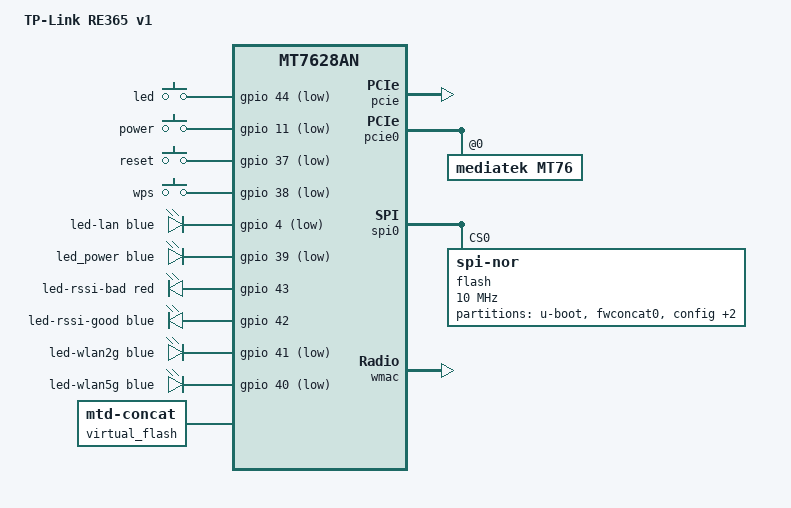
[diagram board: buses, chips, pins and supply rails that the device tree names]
// SPDX-License-Identifier: GPL-2.0-or-later OR MIT

#include "mt7628an.dtsi"

#include <dt-bindings/gpio/gpio.h>
#include <dt-bindings/input/input.h>
#include <dt-bindings/leds/common.h>

/ {
	model = "TP-Link RE365 v1";
	compatible = "tplink,re365-v1", "mediatek,mt7628an-soc";

	aliases {
		led-boot = &led_power;
		led-failsafe = &led_power;
		led-running = &led_power;
		led-upgrade = &led_power;
		label-mac-device = &ethernet;
	};

	keys {
		compatible = "gpio-keys";

		button-led {
			label = "led";
			gpios = <&gpio 44 GPIO_ACTIVE_LOW>;
			linux,code = <KEY_LIGHTS_TOGGLE>;
		};

		button-power {
			label = "power";
			gpios = <&gpio 11 GPIO_ACTIVE_LOW>;
			linux,code = <KEY_POWER>;
		};

		button-reset {
			label = "reset";
			gpios = <&gpio 37 GPIO_ACTIVE_LOW>;
			linux,code = <KEY_RESTART>;
		};

		button-wps {
			label = "wps";
			gpios = <&gpio 38 GPIO_ACTIVE_LOW>;
			linux,code = <KEY_WPS_BUTTON>;
		};
	};

	leds {
		compatible = "gpio-leds";

		led-lan {
			color = <LED_COLOR_ID_BLUE>;
			function = LED_FUNCTION_LAN;
			gpios = <&gpio 4 GPIO_ACTIVE_LOW>;
		};

		led_power: led-power {
			color = <LED_COLOR_ID_BLUE>;
			function = LED_FUNCTION_POWER;
			gpios = <&gpio 39 GPIO_ACTIVE_LOW>;
			panic-indicator;
		};

		led-rssi-bad {
			color = <LED_COLOR_ID_RED>;
			function = LED_FUNCTION_INDICATOR;
			gpios = <&gpio 43 GPIO_ACTIVE_HIGH>;
		};

		led-rssi-good {
			color = <LED_COLOR_ID_BLUE>;
			function = LED_FUNCTION_INDICATOR;
			gpios = <&gpio 42 GPIO_ACTIVE_HIGH>;
		};

		led-wlan2g {
			color = <LED_COLOR_ID_BLUE>;
			function = LED_FUNCTION_WLAN;
			function-enumerator = <2>;
			gpios = <&gpio 41 GPIO_ACTIVE_LOW>;
			linux,default-trigger = "phy0tpt";
		};

		led-wlan5g {
			color = <LED_COLOR_ID_BLUE>;
			function = LED_FUNCTION_WLAN;
			function-enumerator = <5>;
			gpios = <&gpio 40 GPIO_ACTIVE_LOW>;
			linux,default-trigger = "phy1tpt";
		};
	};

	virtual_flash {
		compatible = "mtd-concat";
		devices = <&fwconcat0>, <&fwconcat1>;

		partitions {
			compatible = "fixed-partitions";
			#address-cells = <1>;
			#size-cells = <1>;

			partition@0 {
				compatible = "tplink,firmware";
				label = "firmware";
				reg = <0x0 0x0>;
			};
		};
	};
};

&ethernet {
	nvmem-cells = <&macaddr_config_10008 0>;
	nvmem-cell-names = "mac-address";
};

&pcie {
	status = "okay";
};

&pcie0 {
	mt76@0,0 {
		compatible = "mediatek,mt76";
		reg = <0x0000 0 0 0 0>;
		ieee80211-freq-limit = <5000000 6000000>;
		nvmem-cells = <&eeprom_radio_8000>, <&macaddr_config_10008 2>;
		nvmem-cell-names = "eeprom", "mac-address";
	};
};

&spi0 {
	status = "okay";

	flash@0 {
		compatible = "jedec,spi-nor";
		reg = <0>;
		spi-max-frequency = <10000000>;

		partitions {
			compatible = "fixed-partitions";
			#address-cells = <1>;
			#size-cells = <1>;

			partition@0 {
				label = "u-boot";
				reg = <0x0 0x20000>;
				read-only;
			};

			fwconcat0: partition@20000 {
				label = "fwconcat0";
				reg = <0x20000 0x5e0000>;
			};

			partition@600000 {
				label = "config";
				reg = <0x600000 0x50000>;
				read-only;

				nvmem-layout {
					compatible = "fixed-layout";
					#address-cells = <1>;
					#size-cells = <1>;

					macaddr_config_10008: macaddr@10008 {
						compatible = "mac-base";
						reg = <0x10008 0x6>;
						#nvmem-cell-cells = <1>;
					};
				};
			};

			fwconcat1: partition@650000 {
				label = "fwconcat1";
				reg = <0x650000 0x1a0000>;
			};

			partition@7f0000 {
				label = "radio";
				reg = <0x7f0000 0x10000>;
				read-only;

				nvmem-layout {
					compatible = "fixed-layout";
					#address-cells = <1>;
					#size-cells = <1>;

					eeprom_radio_0: eeprom@0 {
						reg = <0x0 0x400>;
					};

					eeprom_radio_8000: eeprom@8000 {
						reg = <0x8000 0x200>;
					};
				};
			};
		};
	};
};

&state_default {
	gpio {
		groups = "refclk", "wdt", "p0led_an", "p1led_an", "p2led_an", "p3led_an",
			"p4led_an";
		function = "gpio";
	};
};

&wmac {
	status = "okay";

	nvmem-cells = <&eeprom_radio_0>, <&macaddr_config_10008 1>;
	nvmem-cell-names = "eeprom", "mac-address";
};
